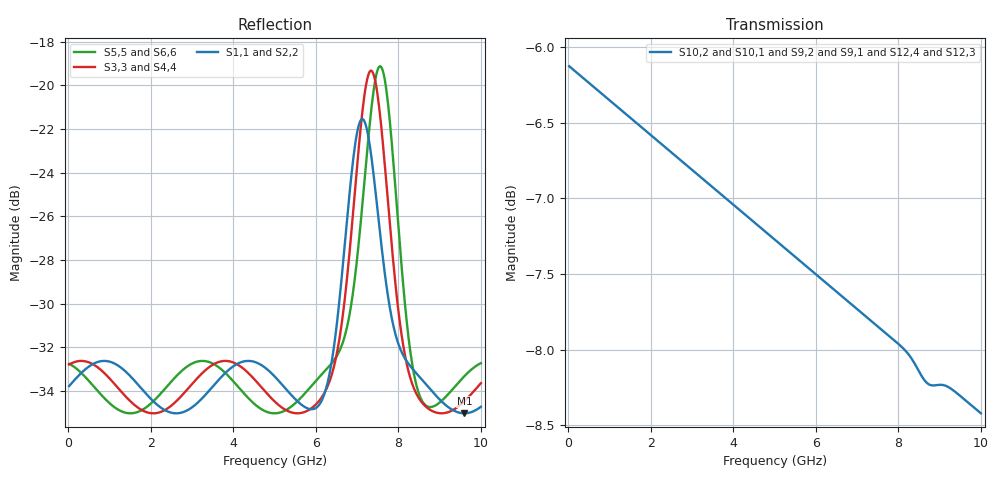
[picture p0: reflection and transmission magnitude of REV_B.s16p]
! SYNTHETIC demonstration only; not a measured board
[Version] 2.1
# GHz S RI R 50
[Number of Ports] 16
! Port[1] = CLK_Near_P
! Port[2] = CLK_Near_N
! Port[9] = CLK_Far_P
! Port[10] = CLK_Far_N
! Port[3] = DATA0_Near_P
! Port[4] = DATA0_Near_N
! Port[11] = DATA0_Far_P
! Port[12] = DATA0_Far_N
! Port[5] = DATA1_Near_P
! Port[6] = DATA1_Near_N
! Port[13] = DATA1_Far_P
! Port[14] = DATA1_Far_N
! Port[7] = DATA2_Near_P
! Port[8] = DATA2_Near_N
! Port[15] = DATA2_Far_P
! Port[16] = DATA2_Far_N
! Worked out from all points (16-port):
!   450 points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, 22.22 MHz to 10 GHz, reference 50 ohm
!   strongest paths, dB at 22.22 MHz, 2.511 GHz, 5.022 GHz, 7.511 GHz, 10 GHz:
!     S10,2: -6.1, -6.7, -7.3, -7.8, -8.4
!     S10,1: -6.1, -6.7, -7.3, -7.8, -8.4
!     S9,2: -6.1, -6.7, -7.3, -7.8, -8.4
!     S9,1: -6.1, -6.7, -7.3, -7.8, -8.4
!     S12,4: -6.1, -6.7, -7.4, -8.0, -8.6
!     S12,3: -6.1, -6.7, -7.4, -8.0, -8.6
!   lowest |S11| = -35.0 dB at 9.6 GHz (marker M1), VSWR 1.04, Z = 51.8 - j0.367 ohm
!   |S11| at or under -10 dB: start of sweep to end of sweep
